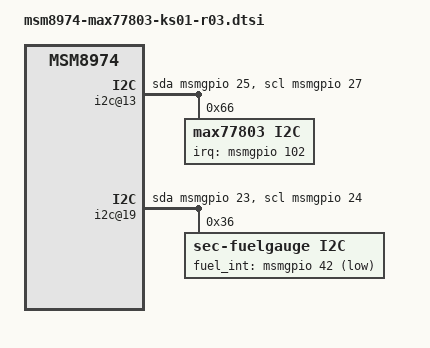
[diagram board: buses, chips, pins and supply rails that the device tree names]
/* Copyright (c) 2012, The Linux Foundation. All rights reserved.
 *
 * This program is free software; you can redistribute it and/or modify
 * it under the terms of the GNU General Public License version 2 and
 * only version 2 as published by the Free Software Foundation.
 *
 * This program is distributed in the hope that it will be useful,
 * but WITHOUT ANY WARRANTY; without even the implied warranty of
 * MERCHANTABILITY or FITNESS FOR A PARTICULAR PURPOSE.  See the
 * GNU General Public License for more details.
 */

/ {

	haptic_pdata: max77803_haptic_driver {
		haptic,max_timeout = <10000>;
		haptic,duty = <44000>;
		haptic,period = <44642>;
		haptic,pwm_id = <1>;
	};
	i2c@13 {
		cell-index = <13>;
		compatible = "i2c-gpio";
		gpios = <&msmgpio 25 0 /* sda */
			 &msmgpio 27 0 /* scl */
			 >;
		i2c-gpio,delay-us = <2>;
		#address-cells = <1>;
		#size-cells = <0>;

		max77803@66 {
			compatible = "max77803,i2c";
			reg = <0x66>;
			interrupt-parent = <&msmgpio>;
			interrupts = <102 0>;
			max77803,irq-gpio = <&msmgpio 102 0x00>;
			max77803,irq-base = <353>;
			max77803,wc-irq-gpio = <0>;
			max77803,wakeup = <1>;
			max77803,haptic = <&haptic_pdata>;
		};
	};

	i2c@19 {
		cell-index = <19>;
		compatible = "i2c-gpio";
		gpios = <&msmgpio 23 0 /* sda */
		&msmgpio 24 0 /* scl */
		>;
		i2c-gpio,sda-open-drain;
		i2c-gpio,scl-open-drain;
		#address-cells = <1>;
		#size-cells = <0>;

		sec-fuelgauge@36 {
			compatible = "sec-fuelgauge,i2c";
			reg = <0x36>;

			fuelgauge,fuel_int = <&msmgpio 42 0x1>;
			fuelgauge,capacity_max = <1000>;
			fuelgauge,capacity_max_margin = <50>;
			fuelgauge,capacity_min = <0>;
			fuelgauge,capacity_calculation_type = <0x17>;
			fuelgauge,fuel_alert_soc = <2>;
			/* fuelgaguge,repeated_fuelalert; */
			fuelgauge,rcomp0 = <0x70>;
			fuelgauge,rcomp_charging = <0x79>;
			fuelgauge,temp_cohot = <(-850)>;
			fuelgauge,temp_cocold = <(-4200)>;
			fuelgauge,is_using_model_data;
			fuelgauge,type_str = "SDI";
		};
	};
};
